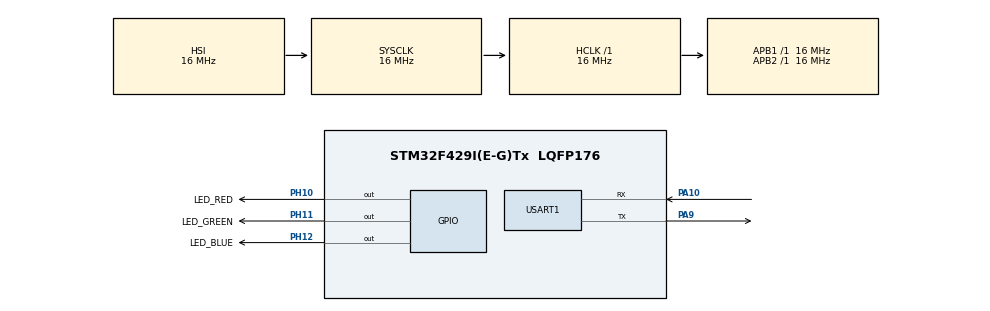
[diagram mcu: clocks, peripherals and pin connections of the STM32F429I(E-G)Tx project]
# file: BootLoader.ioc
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Dma.Request0=USART1_RX
Dma.Request1=USART1_TX
Dma.USART1_RX.0.Direction=DMA_PERIPH_TO_MEMORY
Dma.USART1_RX.0.FIFOMode=DMA_FIFOMODE_DISABLE
Dma.USART1_RX.0.Instance=DMA2_Stream2
Dma.USART1_RX.0.MemDataAlignment=DMA_MDATAALIGN_BYTE
Dma.USART1_RX.0.MemInc=DMA_MINC_ENABLE
Dma.USART1_RX.0.Mode=DMA_NORMAL
Dma.USART1_RX.0.PeriphDataAlignment=DMA_PDATAALIGN_BYTE
Dma.USART1_RX.0.PeriphInc=DMA_PINC_DISABLE
Dma.USART1_RX.0.Priority=DMA_PRIORITY_LOW
Dma.USART1_TX.1.Direction=DMA_MEMORY_TO_PERIPH
Dma.USART1_TX.1.FIFOMode=DMA_FIFOMODE_DISABLE
Dma.USART1_TX.1.Instance=DMA2_Stream7
Dma.USART1_TX.1.MemDataAlignment=DMA_MDATAALIGN_BYTE
Dma.USART1_TX.1.MemInc=DMA_MINC_ENABLE
Dma.USART1_TX.1.Mode=DMA_NORMAL
Dma.USART1_TX.1.PeriphDataAlignment=DMA_PDATAALIGN_BYTE
Dma.USART1_TX.1.PeriphInc=DMA_PINC_DISABLE
Dma.USART1_TX.1.Priority=DMA_PRIORITY_LOW
Mcu.Family=STM32F4
Mcu.Name=STM32F429I(E-G)Tx
Mcu.Package=LQFP176
Mcu.UserConstants=PRINT_COM,$$_USART1_IP_HANDLE_$$
NVIC.DMA2_Stream2_IRQn=true\:0\:0\:false\:false\:true\:false\:true\:true
NVIC.DMA2_Stream7_IRQn=true\:0\:0\:false\:false\:true\:false\:true\:true
NVIC.PriorityGroup=NVIC_PRIORITYGROUP_4
NVIC.USART1_IRQn=true\:0\:0\:false\:false\:true\:true\:true\:true
PA10.Mode=Asynchronous
PA10.Signal=USART1_RX
PA9.Mode=Asynchronous
PA9.Signal=USART1_TX
PH10.GPIO_Label=LED_RED
PH10.GPIO_PuPd=GPIO_PULLUP
PH10.GPIO_Speed=GPIO_SPEED_FREQ_HIGH
PH10.PinState=GPIO_PIN_SET
PH10.Signal=GPIO_Output
PH11.GPIO_Label=LED_GREEN
PH11.GPIO_PuPd=GPIO_PULLUP
PH11.GPIO_Speed=GPIO_SPEED_FREQ_HIGH
PH11.PinState=GPIO_PIN_SET
PH11.Signal=GPIO_Output
PH12.GPIO_Label=LED_BLUE
PH12.GPIO_PuPd=GPIO_PULLUP
PH12.GPIO_Speed=GPIO_SPEED_FREQ_HIGH
PH12.PinState=GPIO_PIN_SET
PH12.Signal=GPIO_Output
ProjectManager.HeapSize=0x200
ProjectManager.StackSize=0x400
ProjectManager.TargetToolchain=STM32CubeIDE
RCC.AHBFreq_Value=16000000
RCC.APB1Freq_Value=16000000
RCC.APB2Freq_Value=16000000
RCC.CortexFreq_Value=16000000
RCC.HSE_VALUE=25000000
RCC.HSI_VALUE=16000000
RCC.LSE_VALUE=32768
RCC.SYSCLKFreq_VALUE=16000000
RCC.VCOOutputFreq_Value=192000000
USART1.VirtualMode=VM_ASYNC
board=custom

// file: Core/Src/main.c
/* USER CODE BEGIN Header */
/**
  ******************************************************************************
  * @file           : main.c
  * @brief          : Main program body
  ******************************************************************************
  * @attention
  *
  * Copyright (c) 2025 STMicroelectronics.
  * All rights reserved.
  *
  * This software is licensed under terms that can be found in the LICENSE file
  * in the root directory of this software component.
  * If no LICENSE file comes with this software, it is provided AS-IS.
  *
  ******************************************************************************
  */
/* USER CODE END Header */
#include "main.h"
#include "dma.h"
#include "usart.h"
#include "gpio.h"

/* USER CODE BEGIN Includes */
#include "bsps.h"
/* USER CODE END Includes */

/* USER CODE BEGIN PM */
#define     BOOT_APP_START_ADDR_A    0x08008000
#define     BOOT_APP_START_ADDR_B    0x08084000
#define     BOOT_TIMEOUT             10 // 10s
/* USER CODE END PM */

void SystemClock_Config(void);

int main(void)
{

  /* MCU Configuration--------------------------------------------------------*/

  /* Reset of all peripherals, Initializes the Flash interface and the Systick. */
  HAL_Init();

  /* Configure the system clock */
  SystemClock_Config();

  /* USER CODE BEGIN SysInit */
//  __gcov_init(); // Initialize coverage data structure
  /* USER CODE END SysInit */

  /* Initialize all configured peripherals */
  MX_GPIO_Init();
  MX_DMA_Init();
  MX_USART1_UART_Init();
  /* USER CODE BEGIN 2 */
  Log_Init();
  Led_Init();
//  __gcov_exit(); // Exit coverage data structure
  /* USER CODE END 2 */

  /* Infinite loop */
  /* USER CODE BEGIN WHILE */
  int i = 0;
  while (1)
  {
    for (i = 0; i < BOOT_TIMEOUT; i++)
    {
        LOG_RELEASE("Auto boot BANK after %d seconds.\n",BOOT_TIMEOUT-i);
        HAL_Delay(1000);
        LED_RED_TOGGLE;
    }
    LED_RED_ON;
    HAL_Delay(1000);
    LOG_RELEASE("Jump to App\n");
    HAL_Delay(1000);
//     jump_to_app(BOOT_APP_START_ADDR_A );
    jump_to_app(BOOT_APP_START_ADDR_B);
    HAL_Delay(1000);
    /* USER CODE END WHILE */

  }
}

void SystemClock_Config(void)
{
  RCC_OscInitTypeDef RCC_OscInitStruct = {0};
  RCC_ClkInitTypeDef RCC_ClkInitStruct = {0};

  /** Configure the main internal regulator output voltage
  */
  __HAL_RCC_PWR_CLK_ENABLE();
  __HAL_PWR_VOLTAGESCALING_CONFIG(PWR_REGULATOR_VOLTAGE_SCALE3);

  /** Initializes the RCC Oscillators according to the specified parameters
  * in the RCC_OscInitTypeDef structure.
  */
  RCC_OscInitStruct.OscillatorType = RCC_OSCILLATORTYPE_HSI;
  RCC_OscInitStruct.HSIState = RCC_HSI_ON;
  RCC_OscInitStruct.HSICalibrationValue = RCC_HSICALIBRATION_DEFAULT;
  RCC_OscInitStruct.PLL.PLLState = RCC_PLL_NONE;
  if (HAL_RCC_OscConfig(&RCC_OscInitStruct) != HAL_OK)
  {
    Error_Handler();
  }

  /** Initializes the CPU, AHB and APB buses clocks
  */
  RCC_ClkInitStruct.ClockType = RCC_CLOCKTYPE_HCLK|RCC_CLOCKTYPE_SYSCLK
                              |RCC_CLOCKTYPE_PCLK1|RCC_CLOCKTYPE_PCLK2;
  RCC_ClkInitStruct.SYSCLKSource = RCC_SYSCLKSOURCE_HSI;
  RCC_ClkInitStruct.AHBCLKDivider = RCC_SYSCLK_DIV1;
  RCC_ClkInitStruct.APB1CLKDivider = RCC_HCLK_DIV1;
  RCC_ClkInitStruct.APB2CLKDivider = RCC_HCLK_DIV1;

  if (HAL_RCC_ClockConfig(&RCC_ClkInitStruct, FLASH_LATENCY_0) != HAL_OK)
  {
    Error_Handler();
  }
}

void Error_Handler(void)
{
  __disable_irq();
  while (1)
  {
  }
}
